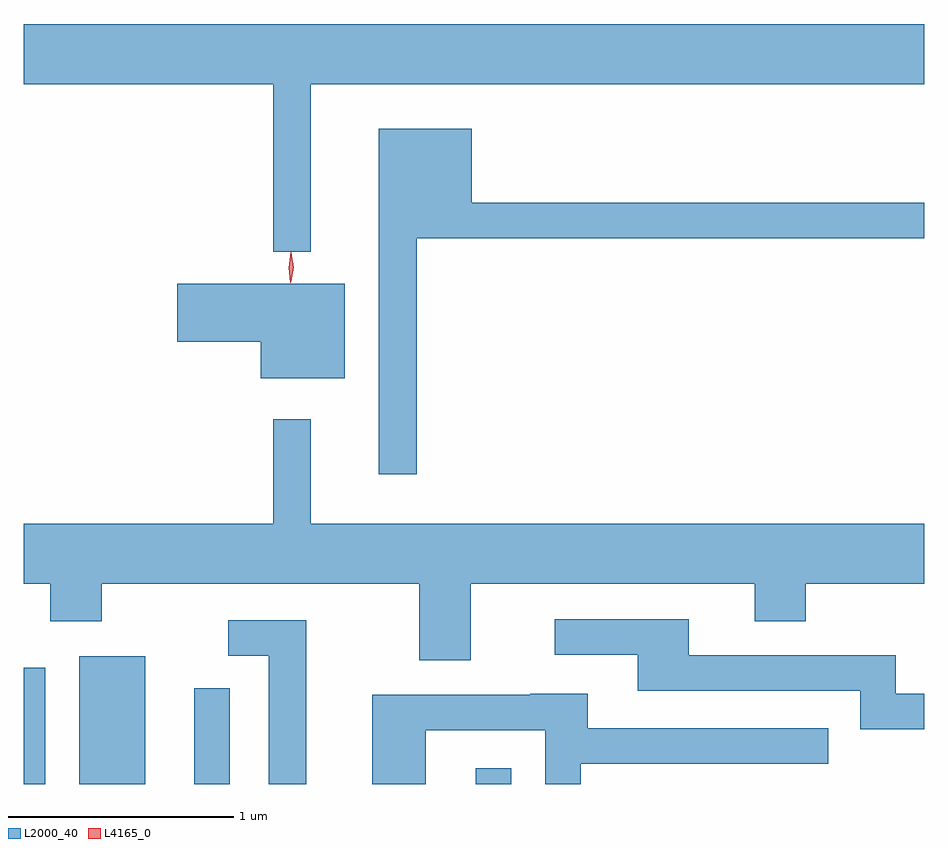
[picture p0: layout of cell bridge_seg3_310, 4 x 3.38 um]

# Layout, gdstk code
import gdstk
lib = gdstk.Library(unit=1e-6, precision=1e-09)
def R(c, l, rs):  # rectangles x0, y0, x1, y1
    for r in rs: c.add(gdstk.rectangle(r[:2], r[2:], *l))
def P(c, l, *ps):  # polygons
    for p in ps: c.add(gdstk.Polygon(p, *l))
L2000_40 = (2000, 40)
L4165_0 = (4165, 0)

bridge_seg3_310 = lib.new_cell('bridge_seg3_310')
R(bridge_seg3_310, L2000_40, [(561.674,1142.887,561.769,1143.404), (561.921,1142.887,562.214,1143.454), (562.431,1142.887,562.589,1143.313), (563.681,1142.887,563.839,1142.958)])
P(bridge_seg3_310, L2000_40, [(562.949,1145.996),(565.674,1145.996),(565.674,1146.264),(561.674,1146.264),(561.674,1145.996),(562.781,1145.996),(562.781,1145.253),(562.949,1145.253)],
  [(563.419,1145.311),(565.674,1145.311),(565.674,1145.469),(563.664,1145.469),(563.664,1145.799),(563.251,1145.799),(563.251,1144.263),(563.419,1144.263)],
  [(563.099,1145.109),(562.356,1145.109),(562.356,1144.851),(562.726,1144.851),(562.726,1144.691),(563.099,1144.691)],
  [(563.659,1143.776),(564.921,1143.776),(564.921,1143.611),(565.149,1143.611),(565.149,1143.776),(565.674,1143.776),(565.674,1144.044),(562.949,1144.044),(562.949,1144.508),(562.781,1144.508),(562.781,1144.044),(561.674,1144.044),(561.674,1143.776),(561.791,1143.776),(561.791,1143.611),(562.019,1143.611),(562.019,1143.776),(563.431,1143.776),(563.431,1143.436),(563.659,1143.436)],
  [(565.674,1143.289),(565.549,1143.289),(565.549,1143.459),(564.629,1143.459),(564.629,1143.619),(564.033,1143.619),(564.033,1143.461),(564.401,1143.461),(564.401,1143.301),(565.391,1143.301),(565.391,1143.131),(565.674,1143.131)],
  [(562.929,1143.614),(562.583,1143.614),(562.583,1143.456),(562.761,1143.456),(562.761,1142.887),(562.929,1142.887)],
  [(563.459,1143.126),(563.991,1143.126),(563.991,1142.887),(564.149,1142.887),(564.149,1142.976),(565.248,1142.976),(565.248,1143.134),(564.179,1143.134),(564.179,1143.289),(563.925,1143.289),(563.925,1143.284),(563.221,1143.284),(563.221,1142.887),(563.459,1142.887)])
P(bridge_seg3_310, L4165_0, [(562.862,1145.12),(562.853,1145.184),(562.862,1145.246),(562.863,1145.247),(562.863,1145.246),(562.873,1145.184),(562.863,1145.12),(562.863,1145.12)],
  [(562.858,1145.114),(562.85,1145.182),(562.86,1145.25),(562.86,1145.25),(562.861,1145.25),(562.87,1145.182),(562.859,1145.114),(562.859,1145.114)])

lib.write_gds('bridge_seg3_310.gds')
